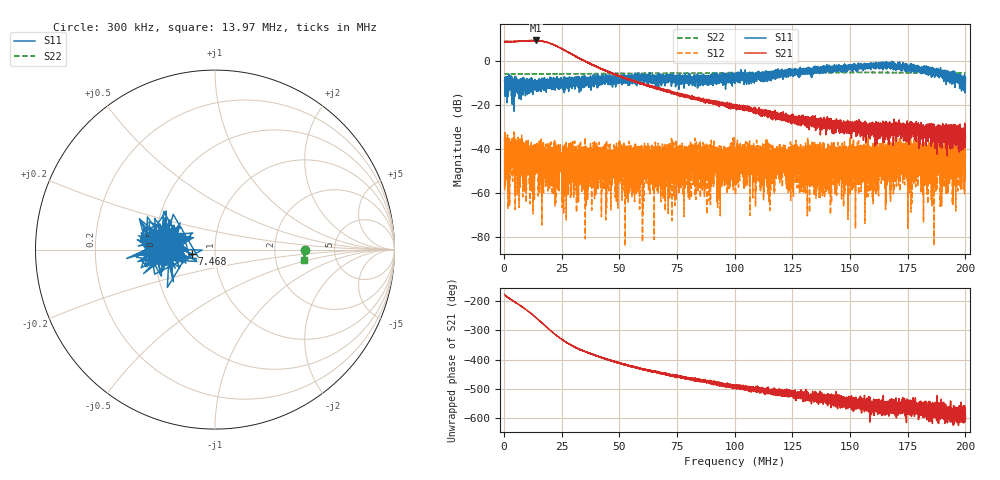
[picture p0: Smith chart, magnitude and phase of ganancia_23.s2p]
# Hz S DB R 50
! CMT, M5065, 19127446, 24.2.4/2
! Date: 10/29/2024 1:14:55 PM
! Data: Format (Calibration Info)
! Freq	S11:dB/Ang(F2)	S21:dB/Ang(F2)	S12:dB/Ang(F2)	S22:dB/Ang(F2)
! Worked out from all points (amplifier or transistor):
!   9000 points, 300 kHz to 200 MHz, reference 50 ohm
!   highest |S21| = 9.1 dB at 13.79 MHz (marker M1)
!   |S21| within 3 dB of that: start of sweep to 23.66 MHz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
!   unconditionally stable (mu >= 1): start of sweep to end of sweep
!   at 33.59 MHz: K = 52.59, MAG = 2.5 dB, |S12| = -44.8 dB
!   at 100.2 MHz: K = 1010.64, MAG = -18.5 dB, |S12| = -49.8 dB
!   at 200 MHz: K = 2624.66, MAG = -32.7 dB, |S12| = -43.6 dB
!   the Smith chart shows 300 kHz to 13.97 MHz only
!   S11 on the Smith chart (normalised r, x): 300 kHz: 0.48, +0.09; 7.468 MHz: 0.77, -0.04; 13.97 MHz: 0.58, +0.06
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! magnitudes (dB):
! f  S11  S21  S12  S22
! 300 kHz  -9.1  8.6  -36.2  -6.0
! 1.609 MHz  -8.2  8.6  -41.5  -6.0
! 7.468 MHz  -17.6  8.8  -36.0  -6.0
! 11.62 MHz  -13.8  9.0  -45.1  -6.0
! 13.79 MHz  -12.5  9.1  -40.9  -6.0
! 13.97 MHz  -11.5  9.1  -42.6  -6.0
! 26.15 MHz  -11.6  4.8  -41.3  -5.9
! 33.59 MHz  -8.8  0.6  -44.8  -5.9
! 36.21 MHz  -9.6  -0.9  -47.9  -5.9
! 43.46 MHz  -10.3  -4.2  -38.6  -5.9
! 59.4 MHz  -6.7  -10.3  -47.4  -5.8
! 66.87 MHz  -9.0  -12.6  -42.3  -5.8
! 100.2 MHz  -7.6  -20.6  -49.8  -5.7
! 121.1 MHz  -5.5  -24.0  -48.1  -5.6
! 124.7 MHz  -5.6  -26.9  -42.9  -5.5
! 133.4 MHz  -4.8  -27.3  -40.6  -5.4
! 166.7 MHz  -1.9  -35.9  -41.9  -5.4
! 179.7 MHz  -4.6  -31.4  -42.2  -5.5
! 182.7 MHz  -5.2  -32.2  -45.2  -5.5
! 188.3 MHz  -4.7  -33.8  -47.9  -5.5
! 195.1 MHz  -9.4  -32.8  -42.4  -5.5
! 200 MHz  -9.5  -34.6  -43.6  -5.6
